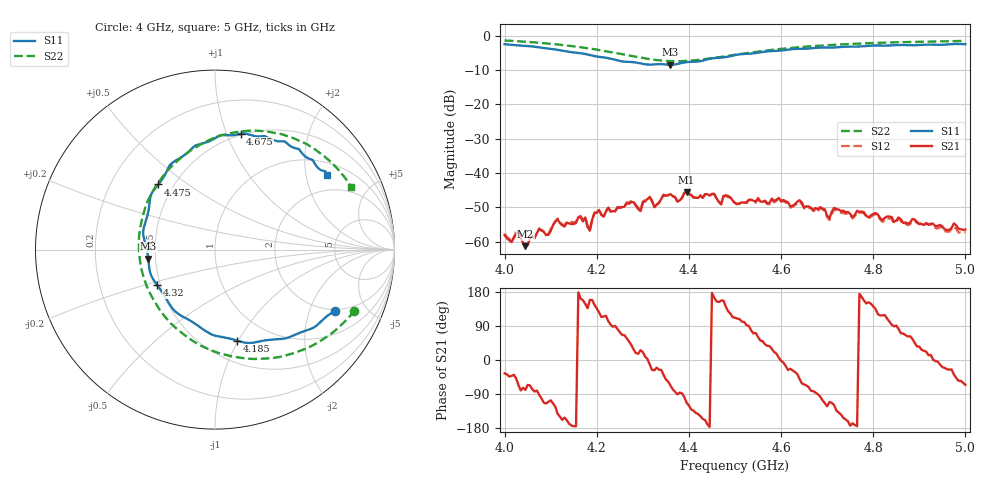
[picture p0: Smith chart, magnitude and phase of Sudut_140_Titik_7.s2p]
# Hz S RI R 50
! CMT, C1220, 16058040, 17.2.0/1
! Date: 15/08/2018 12:02:29
! Data: Format (Calibration Info)
! Freq  S11: Re/Im (F2)  S21: Re/Im (F2)  S12: Re/Im (F2)  S22: Re/Im (F2)
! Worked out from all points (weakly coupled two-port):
!   201 points, 4 GHz to 5 GHz, reference 50 ohm
!   highest |S21| = -45.66 dB at 4.395 GHz (marker M1); lowest = -61.3 dB at 4.045 GHz (marker M2)
!   lowest |S11| = -8.5 dB at 4.36 GHz (marker M3), VSWR 2.20, Z = 22.8 - j2.71 ohm
!   |S11| at or under -10 dB: nowhere
!   |S22| runs from -7.5 to -1.4 dB; largest |S21 - S12| = 0.0002
!   S11 on the Smith chart (normalised r, x): 4 GHz: 1.93, -2.99; 4.185 GHz: 0.71, -0.99; 4.32 GHz: 0.48, -0.22; 4.475 GHz: 0.41, +0.39; 4.675 GHz: 0.49, +1.12; 5 GHz: 1.41, +2.65
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4e9  0.6659 -0.3408  0.00102 -0.000721  0.0011 -0.000691  0.7772 -0.3403
4.015e9  0.6391 -0.3599  0.000731 -0.000656  0.00076 -0.000653  0.7493 -0.3737
4.03e9  0.6058 -0.3865  0.000576 -0.00128  0.000661 -0.00135  0.7189 -0.4046
4.045e9  0.572 -0.4185  0.000166 -0.000841  0.000163 -0.000912  0.6859 -0.4364
4.115e9  0.3693 -0.4979  -0.00165 -0.0013  -0.00164 -0.00142  0.487 -0.5593
4.17e9  0.1706 -0.5194  -0.00182 0.000747  -0.00193 0.000749  0.2818 -0.6067
4.185e9  0.1212 -0.507  -0.00134 0.000529  -0.00137 0.00052  0.2186 -0.6095
4.205e9  0.0435 -0.488  -0.00167 0.00235  -0.00175 0.00235  0.1314 -0.601
4.32e9  -0.3227 -0.1967  0.00347 -0.0017  0.00353 -0.00175  -0.3247 -0.3084
4.335e9  -0.3548 -0.1454  0.00331 -0.00158  0.00329 -0.00162  -0.3626 -0.2418
4.36e9  -0.3714 -0.051  0.0019 -0.00453  0.00179 -0.00451  -0.4072 -0.119
4.395e9  -0.4003 0.092  -0.00202 -0.0048  -0.0021 -0.00478  -0.424 0.0554
4.47e9  -0.328 0.3475  -0.00323 0.00138  -0.00315 0.00147  -0.3144 0.3752
4.475e9  -0.3154 0.363  -0.00424 0.00182  -0.00414 0.0019  -0.3027 0.3914
4.5e9  -0.2634 0.4473  -0.00134 0.00339  -0.00127 0.00344  -0.2392 0.4667
4.595e9  -0.0457 0.5983  0.0043 0.000468  0.00416 0.000429  0.0291 0.6346
4.67e9  0.1321 0.6433  0.000387 -0.00285  0.000317 -0.00277  0.2366 0.6624
4.675e9  0.1422 0.6459  0.000208 -0.00307  0.00021 -0.00293  0.2493 0.6617
4.705e9  0.1979 0.6383  -0.000778 -0.00204  -0.000756 -0.00192  0.324 0.6519
4.715e9  0.2246 0.6318  -0.00149 -0.00272  -0.00149 -0.00252  0.3482 0.6481
4.835e9  0.4362 0.5685  -0.000472 0.00227  -0.000481 0.00211  0.5728 0.5471
5e9  0.6251 0.4132  0.000615 -0.00137  0.000654 -0.0012  0.758 0.3514
